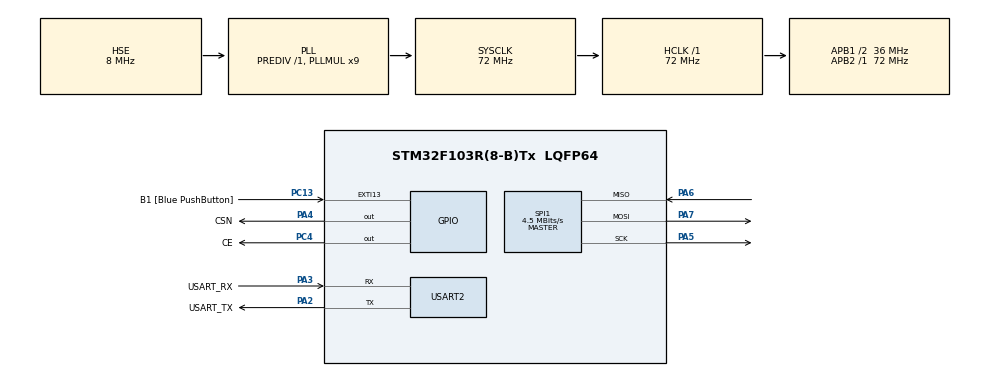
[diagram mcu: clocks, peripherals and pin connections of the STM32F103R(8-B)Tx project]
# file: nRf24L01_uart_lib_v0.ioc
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Mcu.Family=STM32F1
Mcu.Name=STM32F103R(8-B)Tx
Mcu.Package=LQFP64
NVIC.EXTI15_10_IRQn=true\:0\:0\:false\:false\:true\:true\:true
NVIC.PriorityGroup=NVIC_PRIORITYGROUP_4
NVIC.USART2_IRQn=true\:0\:0\:false\:false\:true\:true\:true
PA13.GPIO_Label=TMS
PA13.Mode=Serial_Wire
PA13.Signal=SYS_JTMS-SWDIO
PA14.GPIO_Label=TCK
PA14.Mode=Serial_Wire
PA14.Signal=SYS_JTCK-SWCLK
PA2.GPIO_Label=USART_TX
PA2.GPIO_Mode=GPIO_MODE_AF_PP
PA2.GPIO_PuPd=GPIO_NOPULL
PA2.GPIO_Speed=GPIO_SPEED_FREQ_LOW
PA2.Mode=Asynchronous
PA2.Signal=USART2_TX
PA3.GPIO_Label=USART_RX
PA3.GPIO_Mode=GPIO_MODE_AF_PP
PA3.GPIO_PuPd=GPIO_NOPULL
PA3.GPIO_Speed=GPIO_SPEED_FREQ_LOW
PA3.Mode=Asynchronous
PA3.Signal=USART2_RX
PA4.GPIO_Label=CSN
PA4.Signal=GPIO_Output
PA5.Mode=Full_Duplex_Master
PA5.Signal=SPI1_SCK
PA6.Mode=Full_Duplex_Master
PA6.Signal=SPI1_MISO
PA7.Mode=Full_Duplex_Master
PA7.Signal=SPI1_MOSI
PB3.GPIO_Label=SWO
PB3.Signal=SYS_JTDO-TRACESWO
PC13-TAMPER-RTC.GPIO_Label=B1 [Blue PushButton]
PC13-TAMPER-RTC.GPIO_ModeDefaultEXTI=GPIO_MODE_IT_FALLING
PC13-TAMPER-RTC.GPIO_PuPd=GPIO_NOPULL
PC13-TAMPER-RTC.Signal=GPXTI13
PC14-OSC32_IN.Signal=RCC_OSC32_IN
PC15-OSC32_OUT.Signal=RCC_OSC32_OUT
PC4.GPIO_Label=CE
PC4.Signal=GPIO_Output
PD0-OSC_IN.Mode=HSE-External-Oscillator
PD0-OSC_IN.Signal=RCC_OSC_IN
PD1-OSC_OUT.Mode=HSE-External-Oscillator
PD1-OSC_OUT.Signal=RCC_OSC_OUT
ProjectManager.HeapSize=0x200
ProjectManager.StackSize=0x400
ProjectManager.TargetToolchain=STM32CubeIDE
RCC.AHBFreq_Value=72000000
RCC.APB1CLKDivider=RCC_HCLK_DIV2
RCC.APB1Freq_Value=36000000
RCC.APB1TimFreq_Value=72000000
RCC.APB2Freq_Value=72000000
RCC.APB2TimFreq_Value=72000000
RCC.EnbaleCSS=true
RCC.HCLKFreq_Value=72000000
RCC.PLLMUL=RCC_PLL_MUL9
RCC.PLLSourceVirtual=RCC_PLLSOURCE_HSE
RCC.SYSCLKFreq_VALUE=72000000
RCC.SYSCLKSource=RCC_SYSCLKSOURCE_PLLCLK
RCC.USBFreq_Value=72000000
SPI1.BaudRatePrescaler=SPI_BAUDRATEPRESCALER_16
SPI1.CalculateBaudRate=4.5 MBits/s
SPI1.Direction=SPI_DIRECTION_2LINES
SPI1.Mode=SPI_MODE_MASTER
SPI1.VirtualType=VM_MASTER
TIM1.AutoReloadPreload=TIM_AUTORELOAD_PRELOAD_ENABLE
TIM1.Period=0xFFFE
TIM1.Prescaler=71
USART2.VirtualMode=VM_ASYNC
VP_TIM1_VS_ClockSourceINT.Mode=Internal
board=NUCLEO-F103RB

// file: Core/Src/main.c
/* USER CODE BEGIN Header */
/**
 ******************************************************************************
 * @file           : main.c
 * @brief          : Main program body
 ******************************************************************************
 * @attention
 *
 * <h2><center>&copy; Copyright (c) 2020 STMicroelectronics.
 * All rights reserved.</center></h2>
 *
 * This software component is licensed by ST under BSD 3-Clause license,
 * the "License"; You may not use this file except in compliance with the
 * License. You may obtain a copy of the License at:
 *                        opensource.org/licenses/BSD-3-Clause
 *
 ******************************************************************************
 */
/* USER CODE END Header */

#include "main.h"
#include "spi.h"
#include "tim.h"
#include "usart.h"
#include "gpio.h"

/* USER CODE BEGIN Includes */

#include "uart_interface.h"
//#include "generalPurposeLibrary.h"
/* USER CODE END Includes */

/* USER CODE BEGIN PV */
/* Const */

/* Variables */
volatile uint8_t *uartGlobalFlagIT = NULL;

/* Buffer, arrays */
char uartTransmitBuffer[UART_BUFFER_SIZE_TX];
char uartReceiveBuffer[UART_BUFFER_SIZE_RX];

char uartTmpBuffer[UART_BUFFER_SIZE_RX];
/* USER CODE END PV */

void SystemClock_Config(void);
/* USER CODE BEGIN PFP */
void HAL_UART_RxCpltCallback(UART_HandleTypeDef *huart);
/* USER CODE END PFP */

int main(void) {

	/* MCU Configuration--------------------------------------------------------*/

	/* Reset of all peripherals, Initializes the Flash interface and the Systick. */
	HAL_Init();

	/* Configure the system clock */
	SystemClock_Config();

	/* Initialize all configured peripherals */
	MX_GPIO_Init();
	MX_USART2_UART_Init();
	MX_SPI1_Init();
	MX_TIM1_Init();
	/* USER CODE BEGIN 2 */
	sendString("\n\rPeriphery initialized.", &huart2);
	HAL_Delay(200);

	HAL_TIM_Base_Start(&htim1);
	sendString("\n\rTIM start counting.", &huart2);
	HAL_Delay(200);

	/* nrf24L01+ struct init*/
	nrfStruct_t *testNrfStruct;
	testNrfStruct = nRF_Init(&hspi1, &htim1, CSN_GPIO_Port, CSN_Pin, CE_GPIO_Port, CE_Pin);

	/* nrt Uart interface struct init */
	nRF_UartStruct_t *testUartStruct;
	testUartStruct = nRF_UartInit(testNrfStruct, &huart2);
	uartGlobalFlagIT = &(testUartStruct->uartIrqFlag);

	HAL_UART_Receive_IT(&huart2, (uint8_t*) (testUartStruct->uartRxBuffer), UART_READ_SIZE);
	HAL_Delay(200);
	sendString("\n\rUart set as listener.", &huart2);
	/* USER CODE END 2 */

	/* Infinite loop */
	/* USER CODE BEGIN WHILE */
	while (1) {
		/* Begin UART receive interrupt  */
		if (*uartGlobalFlagIT) {
			/* copy characters to temporary buffer */
			memcpy(testUartStruct->uartTemporaryBuffer, testUartStruct->uartRxBuffer, UART_READ_SIZE);

			/* Main condition - data size */
			if (strlen(testUartStruct->uartTemporaryBuffer) >= MINIMUM_COMMAND_SIZE) {

				/* detect entrance to nRF and set prompt flag */
				if ((testUartStruct->uartPromptFlag) == 0) {
					nrfModeEnter(testUartStruct);
				}

				/* If nrf mode available check and execute command */
				if ((testUartStruct->uartPromptFlag) == 1) {
					/* Check command as exit command */
					if (!nrfModeExit(testUartStruct)) {
						/* If not exit command - check as others commands */
						/* Detect command */
						nrfModeCommand(testUartStruct);
					}
				}
				/* End of positive part of condtion */
			} else {
				sendString("\r\n#nRF command invalid.", &huart2);	//log
			}

			/* Reset buffers */
			resetChar(testUartStruct->uartRxBuffer, UART_BUFFER_SIZE_RX);
			resetChar(testUartStruct->uartTemporaryBuffer, UART_BUFFER_SIZE_TMP);
			*uartGlobalFlagIT = 0; /* Reset flag */
			/* Start UART listening */
			HAL_UART_Receive_IT(&huart2, (uint8_t*) (testUartStruct->uartRxBuffer), UART_READ_SIZE);
		}
		/* End UART receive interrupt  */

		/* USER CODE END WHILE */

	}
}

void SystemClock_Config(void) {
	RCC_OscInitTypeDef RCC_OscInitStruct = { 0 };
	RCC_ClkInitTypeDef RCC_ClkInitStruct = { 0 };

	/** Initializes the CPU, AHB and APB busses clocks
	 */
	RCC_OscInitStruct.OscillatorType = RCC_OSCILLATORTYPE_HSE;
	RCC_OscInitStruct.HSEState = RCC_HSE_ON;
	RCC_OscInitStruct.HSEPredivValue = RCC_HSE_PREDIV_DIV1;
	RCC_OscInitStruct.HSIState = RCC_HSI_ON;
	RCC_OscInitStruct.PLL.PLLState = RCC_PLL_ON;
	RCC_OscInitStruct.PLL.PLLSource = RCC_PLLSOURCE_HSE;
	RCC_OscInitStruct.PLL.PLLMUL = RCC_PLL_MUL9;
	if (HAL_RCC_OscConfig(&RCC_OscInitStruct) != HAL_OK) {
		Error_Handler();
	}
	/** Initializes the CPU, AHB and APB busses clocks
	 */
	RCC_ClkInitStruct.ClockType = RCC_CLOCKTYPE_HCLK | RCC_CLOCKTYPE_SYSCLK | RCC_CLOCKTYPE_PCLK1 | RCC_CLOCKTYPE_PCLK2;
	RCC_ClkInitStruct.SYSCLKSource = RCC_SYSCLKSOURCE_PLLCLK;
	RCC_ClkInitStruct.AHBCLKDivider = RCC_SYSCLK_DIV1;
	RCC_ClkInitStruct.APB1CLKDivider = RCC_HCLK_DIV2;
	RCC_ClkInitStruct.APB2CLKDivider = RCC_HCLK_DIV1;

	if (HAL_RCC_ClockConfig(&RCC_ClkInitStruct, FLASH_LATENCY_2) != HAL_OK) {
		Error_Handler();
	}
}

/* USER CODE BEGIN 4 */
void HAL_UART_RxCpltCallback(UART_HandleTypeDef *huart) {
	*uartGlobalFlagIT = 1;
}
/* USER CODE END 4 */

void Error_Handler(void) {
}

/************************ (C) COPYRIGHT STMicroelectronics *****END OF FILE****/
